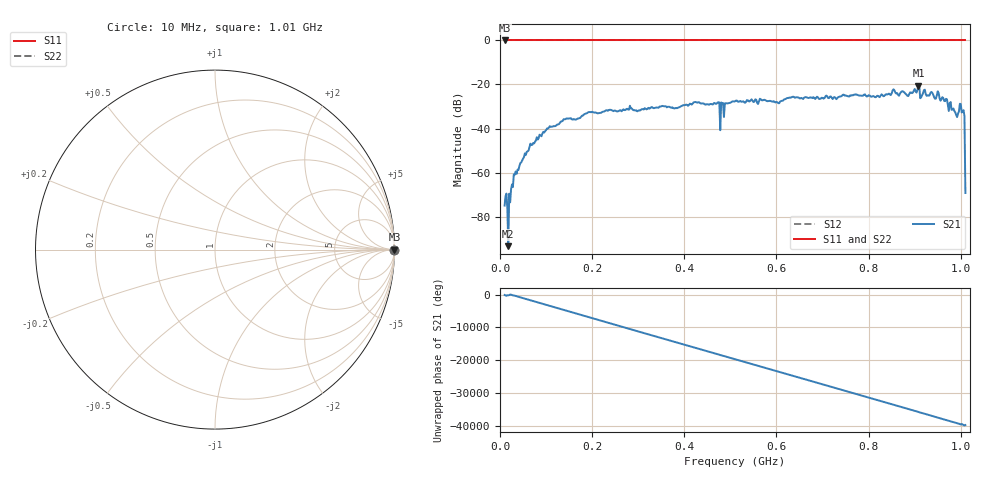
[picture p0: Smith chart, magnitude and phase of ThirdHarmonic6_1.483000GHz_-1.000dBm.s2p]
! 8/16/2025 5:20:48 PM
! C:\ANRITSUVNA\TEMP\TEMP.S2P
! CHANNEL.1
! TR.MEASUREMENT
! RAW.DATA
! RF.CORRECTION.OFF
! AVERAGING.OFF
! IF.BANDWIDTH: 5KHZ
! SWEEPTYPE:  FREQ.SWEEP(Linear)
! Reference Plane Port Info
! PORT:  PORT1  PORT2
! DISTANCE:  0  m  0  m
! TIME:  0  s  0  s
! PHASE.OFFSET:  0  deg.  0  deg.
! LOSS:  0  dB  0  dB
! REF.LOSS:  0  dB  0  dB
! REF.FREQ:  0  Hz  0  Hz
! Power Info
! POWER:  -20  dBm  -20  dBm
! EFF.POWER:  -20  dBm  -20  dBm
! SOURCE.ATTEN:  0  dB  0  dB
! TEST.ATTEN:  0  dB  0  dB
# GHZ S RI R 50.0
! FREQ.GHZ  S11RE  S11IM  S21RE  S21IM  S12RE  S12IM  S22RE  S22IM
!; PortSelection: Port_12
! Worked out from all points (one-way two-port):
!   501 points, 10 MHz to 1.01 GHz, reference 50 ohm
!   highest |S21| = -20.58 dB at 908 MHz (marker M1); lowest = -93.4 dB at 18 MHz (marker M2)
!   lowest |S11| = 0.0 dB at 10 MHz (marker M3)
!   |S11| at or under -10 dB: nowhere
!   |S22| runs from 0.0 to 0.0 dB; largest |S21 - S12| = 1.1
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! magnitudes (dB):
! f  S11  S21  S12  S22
! 10 MHz  0.0  -75.0  0.0  0.0
! 18 MHz  0.0  -93.4  0.0  0.0
! 34 MHz  0.0  -59.5  0.0  0.0
! 68 MHz  0.0  -47.5  0.0  0.0
! 106 MHz  0.0  -39.6  0.0  0.0
! 178 MHz  0.0  -34.2  0.0  0.0
! 344 MHz  0.0  -30.6  0.0  0.0
! 472 MHz  0.0  -28.2  0.0  0.0
! 474 MHz  0.0  -28.0  0.0  0.0
! 482 MHz  0.0  -28.5  0.0  0.0
! 484 MHz  0.0  -28.4  0.0  0.0
! 510 MHz  0.0  -27.7  0.0  0.0
! 602 MHz  0.0  -28.1  0.0  0.0
! 632 MHz  0.0  -25.9  0.0  0.0
! 678 MHz  0.0  -26.2  0.0  0.0
! 844 MHz  0.0  -24.2  0.0  0.0
! 908 MHz  0.0  -20.6  0.0  0.0
! 966 MHz  0.0  -27.6  0.0  0.0
! 990 MHz  0.0  -33.8  0.0  0.0
! 1.002 GHz  0.0  -32.7  0.0  0.0
! 1.004 GHz  0.0  -32.3  0.0  0.0
! 1.01 GHz  0.0  -69.3  0.0  0.0
